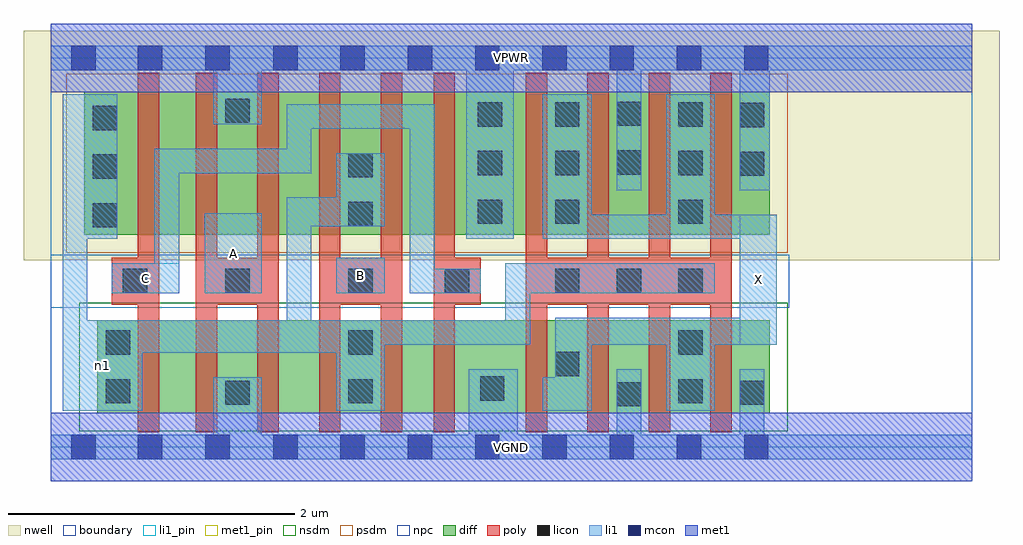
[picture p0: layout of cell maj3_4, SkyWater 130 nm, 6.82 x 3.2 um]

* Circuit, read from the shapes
.subckt maj3_4 A B C VGND VPWR X n1
XM1 n2 C n1 VSUBS sky130_fd_pr__nfet_01v8 w=0.65 l=0.15
XM2 VGND A n2 VSUBS sky130_fd_pr__nfet_01v8 w=0.65 l=0.15
XM3 n3 A VGND VSUBS sky130_fd_pr__nfet_01v8 w=0.65 l=0.15
XM4 n1 B n3 VSUBS sky130_fd_pr__nfet_01v8 w=0.65 l=0.15
XM5 n4 B n1 VSUBS sky130_fd_pr__nfet_01v8 w=0.65 l=0.15
XM6 VGND C n4 VSUBS sky130_fd_pr__nfet_01v8 w=0.65 l=0.15
XM7 X n1 VGND VSUBS sky130_fd_pr__nfet_01v8 w=0.65 l=0.15 m=4
XM8 n5 C n1 n6 sky130_fd_pr__pfet_01v8 w=1 l=0.15
XM9 VPWR A n5 n6 sky130_fd_pr__pfet_01v8 w=1 l=0.15
XM10 n7 A VPWR n6 sky130_fd_pr__pfet_01v8 w=1 l=0.15
XM11 n1 B n7 n6 sky130_fd_pr__pfet_01v8 w=1 l=0.15
XM12 n8 B n1 n6 sky130_fd_pr__pfet_01v8 w=1 l=0.15
XM13 VPWR C n8 n6 sky130_fd_pr__pfet_01v8 w=1 l=0.15
XM14 X n1 VPWR n6 sky130_fd_pr__pfet_01v8 w=1 l=0.15 m=4
.ends

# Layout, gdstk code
import gdstk
lib = gdstk.Library(unit=1e-6, precision=1e-09)
def R(c, l, rs):  # rectangles x0, y0, x1, y1
    for r in rs: c.add(gdstk.rectangle(r[:2], r[2:], *l))
def A(c, l, x, y, w, h, nx, ny, dx, dy):  # array of equal rectangles
    R(c, l, [(x+i*dx, y+j*dy, x+i*dx+w, y+j*dy+h) for i in range(nx) for j in range(ny)])
nwell = (64, 20)
diff = (65, 20)
poly = (66, 20)
licon = (66, 44)
li1_pin = (67, 16)
li1 = (67, 20)
mcon = (67, 44)
met1_pin = (68, 16)
met1 = (68, 20)
nsdm = (93, 44)
psdm = (94, 20)
npc = (95, 20)
boundary = (235, 4)

maj3_4 = lib.new_cell('maj3_4')
R(maj3_4, nwell, [(-0.19,1.305,6.63,2.91), (0,1.305,6.44,2.91)])
R(maj3_4, diff, [(0.325,0.235,5.025,0.885), (0.235,1.485,5.025,2.485)])
A(maj3_4, poly, 1.015, 0.105, 0.15, 2.51, 4, 1, 0.43, 0)
A(maj3_4, poly, 3.32, 0.105, 0.15, 2.51, 4, 1, 0.43, 0)
R(maj3_4, poly, [(0.61,0.105,0.76,2.615), (2.675,0.105,2.825,2.615), (0.425,0.995,0.76,1.325), (1.015,0.995,1.595,1.325), (1.875,0.995,2.455,1.325), (2.675,0.995,3.005,1.325), (3.32,0.995,4.76,1.325)])
A(maj3_4, licon, 3.525, 1.075, 0.17, 0.17, 3, 1, 0.43, 0)
A(maj3_4, licon, 0.295, 1.535, 0.17, 0.17, 1, 3, 0, 0.34)
A(maj3_4, licon, 2.985, 1.56, 0.17, 0.17, 1, 3, 0, 0.34)
A(maj3_4, licon, 3.525, 1.56, 0.17, 0.17, 1, 3, 0, 0.34)
A(maj3_4, licon, 4.385, 1.56, 0.17, 0.17, 1, 3, 0, 0.34)
R(maj3_4, licon, [(3.955,0.285,4.125,0.455), (1.22,0.295,1.39,0.465), (4.815,0.295,4.985,0.465), (0.385,0.305,0.555,0.475), (2.08,0.305,2.25,0.475), (4.385,0.305,4.555,0.475), (3,0.325,3.17,0.495), (3.525,0.495,3.695,0.665), (0.385,0.645,0.555,0.815), (2.08,0.645,2.25,0.815), (4.385,0.645,4.555,0.815), (0.505,1.075,0.675,1.245), (1.22,1.075,1.39,1.245), (2.08,1.075,2.25,1.245), (2.755,1.075,2.925,1.245), (2.08,1.545,2.25,1.715), (2.08,1.885,2.25,2.055), (4.815,1.895,4.985,2.065), (3.955,1.905,4.125,2.075), (4.815,2.235,4.985,2.405), (3.955,2.245,4.125,2.415), (1.22,2.265,1.39,2.435)])
R(maj3_4, li1_pin, [(4.815,0.715,5.075,1.625), (0.425,1.075,0.9,1.285), (1.075,1.075,1.475,1.635), (1.995,1.075,2.335,1.325)])
R(maj3_4, li1, [(0,-0.085,6.44,0.085), (1.135,-0.085,1.475,0.49), (2.92,-0.085,3.265,0.545), (3.955,-0.085,4.125,0.545), (4.815,-0.085,4.985,0.545), (0.085,0.255,0.64,0.885), (0.085,0.255,0.255,2.465), (1.995,0.255,2.335,0.885), (3.44,0.255,3.78,0.49), (3.525,0.255,3.78,0.905), (4.3,0.255,4.64,0.905), (0.085,0.66,2.335,0.885), (1.65,0.66,1.82,1.745), (0.085,0.715,3.35,0.885), (3.175,0.715,3.35,1.285), (3.525,0.715,5.075,0.905), (4.815,0.715,5.075,1.625), (0.425,1.075,0.9,1.285), (0.725,1.075,0.9,2.085), (1.075,1.075,1.475,1.635), (1.995,1.075,2.335,1.325), (2.51,1.075,2.685,2.395), (2.51,1.075,3.005,1.245), (3.175,1.075,4.64,1.285), (0.085,1.455,0.465,2.465), (2.905,1.455,3.235,2.805), (3.44,1.455,3.78,2.465), (3.44,1.455,5.075,1.625), (4.3,1.455,4.64,2.465), (1.65,1.545,2.335,1.745), (1.995,1.545,2.335,2.055), (3.955,1.795,4.125,2.805), (4.815,1.795,5.025,2.805), (0.725,1.915,1.82,2.085), (1.65,1.915,1.82,2.395), (1.65,2.225,2.685,2.395), (1.135,2.255,1.475,2.805), (0,2.635,6.44,2.805)])
A(maj3_4, mcon, 1.555, -0.085, 0.17, 0.17, 8, 2, 0.47, 2.72)
R(maj3_4, mcon, [(0.145,-0.085,0.315,0.085), (0.61,-0.085,0.78,0.085), (1.08,-0.085,1.25,0.085), (0.145,2.635,0.315,2.805), (0.61,2.635,0.78,2.805), (1.08,2.635,1.25,2.805)])
R(maj3_4, met1_pin, [(0,-0.24,6.44,0.24), (0,2.48,6.44,2.96)])
R(maj3_4, met1, [(0,-0.24,6.44,0.24), (0,2.48,6.44,2.96)])
R(maj3_4, nsdm, [(0.2,0.11,5.15,1.01)])
R(maj3_4, psdm, [(0.11,1.36,5.15,2.61)])
R(maj3_4, npc, [(0,0.975,5.16,1.345)])
R(maj3_4, boundary, [(0,0,6.44,2.72)])
maj3_4.add(gdstk.Label('A', (1.275,1.355), layer=67, texttype=5))
maj3_4.add(gdstk.Label('B', (2.165,1.2), layer=67, texttype=5))
maj3_4.add(gdstk.Label('C', (0.662,1.18), layer=67, texttype=5))
maj3_4.add(gdstk.Label('X', (4.945,1.17), layer=67, texttype=5))
maj3_4.add(gdstk.Label('n1', (0.362,0.57), layer=67, texttype=5))
maj3_4.add(gdstk.Label('VPWR', (3.22,2.72), layer=68, texttype=5))
maj3_4.add(gdstk.Label('VGND', (3.22,0), layer=68, texttype=5))
maj3_4.add(gdstk.Label('A', (1.275,1.355), layer=67, texttype=16))
maj3_4.add(gdstk.Label('B', (2.165,1.2), layer=67, texttype=16))
maj3_4.add(gdstk.Label('C', (0.662,1.18), layer=67, texttype=16))
maj3_4.add(gdstk.Label('X', (4.945,1.17), layer=67, texttype=16))
maj3_4.add(gdstk.Label('VPWR', (3.22,2.72), layer=68, texttype=16))
maj3_4.add(gdstk.Label('VGND', (3.22,0), layer=68, texttype=16))

lib.write_gds('maj3_4.gds')
